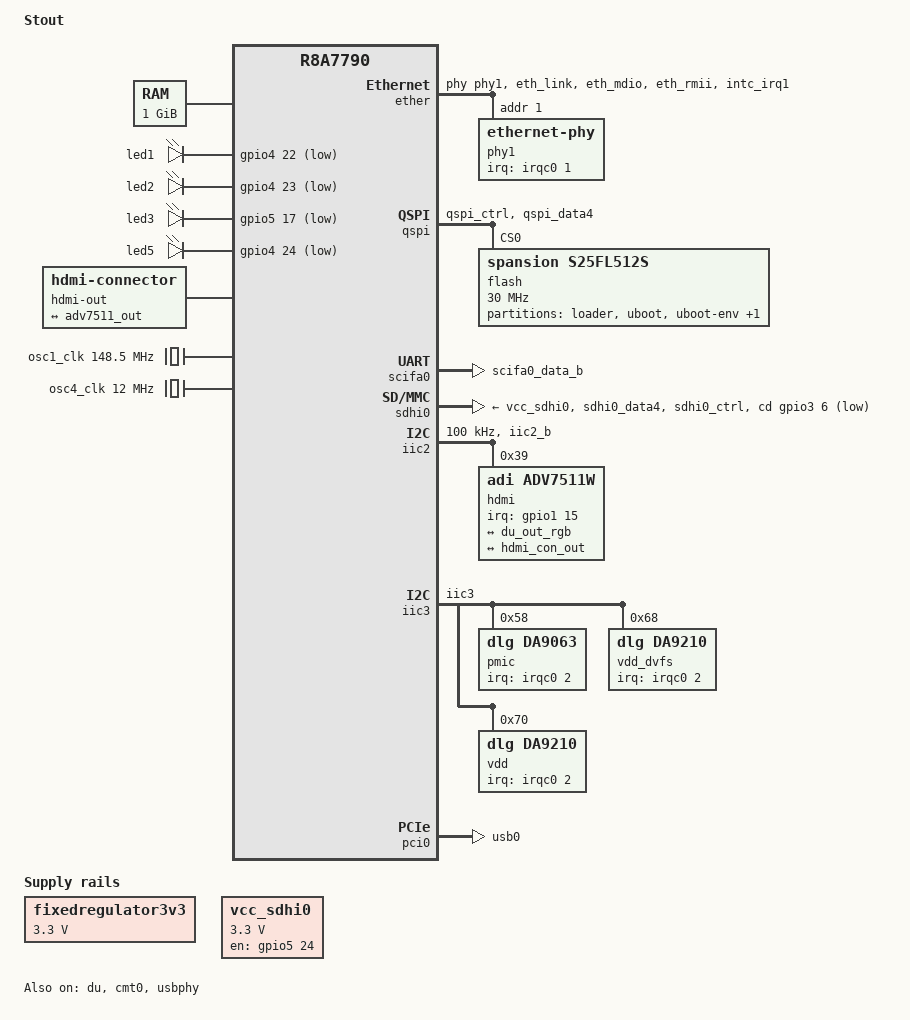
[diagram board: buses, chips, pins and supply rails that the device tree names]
// SPDX-License-Identifier: GPL-2.0
/*
 * Device Tree Source for the Stout board
 *
 * Copyright (C) 2018 Marek Vasut <marek.vasut@gmail.com>
 */

/dts-v1/;
#include "r8a7790.dtsi"
#include <dt-bindings/gpio/gpio.h>
#include <dt-bindings/input/input.h>

/ {
	model = "Stout";
	compatible = "renesas,stout", "renesas,r8a7790";

	aliases {
		serial0 = &scifa0;
	};

	chosen {
		bootargs = "ignore_loglevel rw root=/dev/nfs ip=dhcp";
		stdout-path = "serial0:115200n8";
	};

	memory@40000000 {
		device_type = "memory";
		reg = <0 0x40000000 0 0x40000000>;
	};

	leds {
		compatible = "gpio-leds";
		led1 {
			gpios = <&gpio4 22 GPIO_ACTIVE_LOW>;
		};
		led2 {
			gpios = <&gpio4 23 GPIO_ACTIVE_LOW>;
		};
		led3 {
			gpios = <&gpio5 17 GPIO_ACTIVE_LOW>;
		};
		led5 {
			gpios = <&gpio4 24 GPIO_ACTIVE_LOW>;
		};
	};

	fixedregulator3v3: regulator-3v3 {
		compatible = "regulator-fixed";
		regulator-name = "fixed-3.3V";
		regulator-min-microvolt = <3300000>;
		regulator-max-microvolt = <3300000>;
		regulator-boot-on;
		regulator-always-on;
	};

	vcc_sdhi0: regulator-vcc-sdhi0 {
		compatible = "regulator-fixed";

		regulator-name = "SDHI0 Vcc";
		regulator-min-microvolt = <3300000>;
		regulator-max-microvolt = <3300000>;

		gpio = <&gpio5 24 GPIO_ACTIVE_HIGH>;
		enable-active-high;
	};

	hdmi-out {
		compatible = "hdmi-connector";
		type = "a";

		port {
			hdmi_con_out: endpoint {
				remote-endpoint = <&adv7511_out>;
			};
		};
	};

	osc1_clk: osc1-clock {
		compatible = "fixed-clock";
		#clock-cells = <0>;
		clock-frequency = <148500000>;
	};

	osc4_clk: osc4-clock {
		compatible = "fixed-clock";
		#clock-cells = <0>;
		clock-frequency = <12000000>;
	};
};

&du {
	pinctrl-0 = <&du_pins>;
	pinctrl-names = "default";
	status = "okay";

	clocks = <&cpg CPG_MOD 724>, <&cpg CPG_MOD 723>, <&cpg CPG_MOD 722>,
		 <&cpg CPG_MOD 726>, <&cpg CPG_MOD 725>,
		 <&osc1_clk>;
	clock-names = "du.0", "du.1", "du.2", "lvds.0", "lvds.1", "dclkin.0";

	ports {
		port@0 {
			endpoint {
				remote-endpoint = <&adv7511_in>;
			};
		};
		port@1 {
			lvds_connector0: endpoint {
			};
		};
		port@2 {
			lvds_connector1: endpoint {
			};
		};
	};
};

&extal_clk {
	clock-frequency = <20000000>;
};

&pfc {

	pinctrl-0 = <&scif_clk_pins>;
	pinctrl-names = "default";

	du_pins: du {
		groups = "du_rgb888", "du_sync_1", "du_clk_out_0";
		function = "du";
	};

	scifa0_pins: scifa0 {
		groups = "scifa0_data_b";
		function = "scifa0";
	};

	scif_clk_pins: scif_clk {
		groups = "scif_clk";
		function = "scif_clk";
	};

	ether_pins: ether {
		groups = "eth_link", "eth_mdio", "eth_rmii";
		function = "eth";
	};

	phy1_pins: phy1 {
		groups = "intc_irq1";
		function = "intc";
	};

	sdhi0_pins: sd0 {
		groups = "sdhi0_data4", "sdhi0_ctrl";
		function = "sdhi0";
		power-source = <3300>;
	};

	qspi_pins: qspi {
		groups = "qspi_ctrl", "qspi_data4";
		function = "qspi";
	};

	iic2_pins: iic2 {
		groups = "iic2_b";
		function = "iic2";
	};

	iic3_pins: iic3 {
		groups = "iic3";
		function = "iic3";
	};

	usb0_pins: usb0 {
		groups = "usb0";
		function = "usb0";
	};
};

&ether {
	pinctrl-0 = <&ether_pins &phy1_pins>;
	pinctrl-names = "default";

	phy-handle = <&phy1>;
	renesas,ether-link-active-low;
	status = "okay";

	phy1: ethernet-phy@1 {
		reg = <1>;
		interrupt-parent = <&irqc0>;
		interrupts = <1 IRQ_TYPE_LEVEL_LOW>;
		micrel,led-mode = <1>;
	};
};

&cmt0 {
	status = "okay";
};

&qspi {
	pinctrl-0 = <&qspi_pins>;
	pinctrl-names = "default";

	status = "okay";

	flash: flash@0 {
		compatible = "spansion,s25fl512s", "jedec,spi-nor";
		reg = <0>;
		spi-max-frequency = <30000000>;
		spi-tx-bus-width = <4>;
		spi-rx-bus-width = <4>;
		spi-cpha;
		spi-cpol;
		m25p,fast-read;

		partitions {
			compatible = "fixed-partitions";
			#address-cells = <1>;
			#size-cells = <1>;

			partition@0 {
				label = "loader";
				reg = <0x00000000 0x00080000>;
				read-only;
			};
			partition@80000 {
				label = "uboot";
				reg = <0x00080000 0x00040000>;
				read-only;
			};
			partition@c0000 {
				label = "uboot-env";
				reg = <0x000c0000 0x00040000>;
				read-only;
			};
			partition@100000 {
				label = "flash";
				reg = <0x00100000 0x03f00000>;
			};
		};
	};
};

&scifa0 {
	pinctrl-0 = <&scifa0_pins>;
	pinctrl-names = "default";

	status = "okay";
};

&scif_clk {
	clock-frequency = <14745600>;
};

&sdhi0 {
	pinctrl-0 = <&sdhi0_pins>;
	pinctrl-names = "default";

	vmmc-supply = <&vcc_sdhi0>;
	cd-gpios = <&gpio3 6 GPIO_ACTIVE_LOW>;
	status = "okay";
};

&cpu0 {
	cpu0-supply = <&vdd_dvfs>;
};

&iic2	{
	status = "okay";
	pinctrl-0 = <&iic2_pins>;
	pinctrl-names = "default";

	clock-frequency = <100000>;

	hdmi@39 {
		compatible = "adi,adv7511w";
		reg = <0x39>;
		interrupt-parent = <&gpio1>;
		interrupts = <15 IRQ_TYPE_LEVEL_LOW>;
		clocks = <&osc4_clk>;
		clock-names = "cec";

		adi,input-depth = <8>;
		adi,input-colorspace = "rgb";
		adi,input-clock = "1x";
		adi,input-style = <1>;
		adi,input-justification = "evenly";

		ports {
			#address-cells = <1>;
			#size-cells = <0>;

			port@0 {
				reg = <0>;
				adv7511_in: endpoint {
					remote-endpoint = <&du_out_rgb>;
				};
			};

			port@1 {
				reg = <1>;
				adv7511_out: endpoint {
					remote-endpoint = <&hdmi_con_out>;
				};
			};
		};
	};
};

&iic3 {
	pinctrl-names = "default";
	pinctrl-0 = <&iic3_pins>;
	status = "okay";

	pmic@58 {
		compatible = "dlg,da9063";
		reg = <0x58>;
		interrupt-parent = <&irqc0>;
		interrupts = <2 IRQ_TYPE_LEVEL_LOW>;
		interrupt-controller;

		onkey {
			compatible = "dlg,da9063-onkey";
		};

		rtc {
			compatible = "dlg,da9063-rtc";
		};

		wdt {
			compatible = "dlg,da9063-watchdog";
		};
	};

	vdd_dvfs: regulator@68 {
		compatible = "dlg,da9210";
		reg = <0x68>;
		interrupt-parent = <&irqc0>;
		interrupts = <2 IRQ_TYPE_LEVEL_LOW>;

		regulator-min-microvolt = <1000000>;
		regulator-max-microvolt = <1000000>;
		regulator-boot-on;
		regulator-always-on;
	};

	vdd: regulator@70 {
		compatible = "dlg,da9210";
		reg = <0x70>;
		interrupt-parent = <&irqc0>;
		interrupts = <2 IRQ_TYPE_LEVEL_LOW>;

		regulator-min-microvolt = <1000000>;
		regulator-max-microvolt = <1000000>;
		regulator-boot-on;
		regulator-always-on;
	};
};

&pci0 {
	status = "okay";
	pinctrl-0 = <&usb0_pins>;
	pinctrl-names = "default";
};

&usbphy {
	status = "okay";
};
